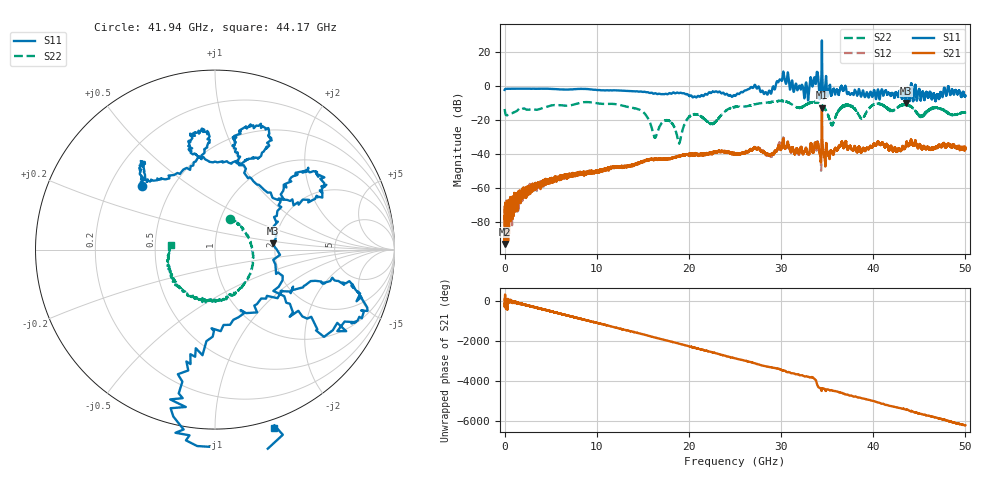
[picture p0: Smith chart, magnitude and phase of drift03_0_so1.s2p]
!Created with skrf (http://scikit-rf.org).
# Hz S RI R 50.0
!freq ReS11 ImS11 ReS21 ImS21 ReS12 ImS12 ReS22 ImS22
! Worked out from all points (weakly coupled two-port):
!   10000 points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, 5.3 MHz to 50 GHz, reference 50 ohm
!   highest |S21| = -12.57 dB at 34.43 GHz (marker M1); lowest = -92.7 dB at 15.3 MHz (marker M2)
!   lowest |S11| = -9.8 dB at 43.53 GHz (marker M3), VSWR 1.95, Z = 96.8 + j7.42 ohm
!   |S11| at or under -10 dB: nowhere
!   |S22| runs from -33.5 to -8.5 dB; largest |S21 - S12| = 0.075
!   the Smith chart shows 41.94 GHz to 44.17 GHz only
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5299970  -0.7858 -0.00908  -2.26e-05 -5.43e-05  7.62e-05 -1.88e-05  -0.216 0.00633
1.529991e7  -0.7943 -0.00282  3.85e-06 2.29e-05  -0.000241 6.46e-05  -0.2075 0.0283
1.525291e9  0.8512 0.0818  -0.000129 -0.000758  7.52e-05 -0.000393  0.207 0.0547
3.155281e9  -0.8525 -0.0206  0.000117 0.000953  0.000384 0.0012  -0.2105 -0.0242
4.670272e9  0.8385 0.1392  -2.7e-05 -0.00157  -0.00036 -0.00151  0.2482 0.0532
6.350262e9  -0.8048 -0.0276  0.00106 0.00195  0.000838 0.00206  -0.2737 -0.0251
8.34025e9  0.6608 -0.5238  -0.00275 -0.000762  -0.00271 -0.000669  0.2181 -0.2522
9.620242e9  -0.7926 -0.0863  0.00196 0.00245  0.00191 0.00224  -0.3321 0.0202
1.132523e10  0.7603 0.026  -0.00303 -0.00249  -0.00308 -0.00232  0.2935 -0.081
1.66702e10  -0.398 0.448  0.0044 -0.00568  0.00455 -0.00567  0.0507 0.0148
2.500515e10  -0.1398 -0.5096  0.00855 0.00547  0.00831 0.00559  -0.2456 -0.0322
2.743014e10  0.8743 -0.0282  -0.00313 0.0144  -0.00294 0.0143  0.00814 -0.3061
2.945512e10  -0.9012 0.7471  -0.00374 -0.0118  -0.00152 -0.0119  0.2434 0.2702
3.011012e10  0.5319 1.4  -0.017 0.00616  -0.0163 0.00675  0.3513 -0.1281
3.136011e10  0.0611 -0.6873  0.0132 -5.98e-05  0.0135 -0.000711  -0.2422 -0.1244
3.33351e10  -0.1138 1.218  -0.0175 0.00177  -0.0173 0.00161  0.2984 -0.1615
3.443009e10  -21.3 -6.757  -0.0987 -0.2134  -0.1128 -0.1402  -0.1299 -0.2505
3.680008e10  0.7777 -0.0828  0.00774 0.0138  0.00765 0.0134  0.045 -0.2634
4.167005e10  -0.6284 0.1556  -0.0136 -0.00295  -0.014 -0.00324  -0.0414 0.2139
4.353004e10  0.3206 0.0343  0.017 -0.00445  0.0174 -0.00378  -0.1804 -0.2321
4.823001e10  -0.8089 -0.2437  -0.0111 0.0137  -0.0132 0.014  0.0449 0.1477
5e10  0.5062 -0.1618  0.00308 -0.0154  0.00157 -0.0153  -0.1105 -0.1287
